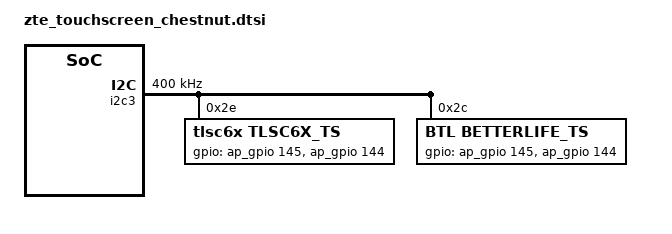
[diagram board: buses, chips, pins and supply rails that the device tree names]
/{
	zte_tp:zte_tp {
		compatible = "zte_tp";
		zte,tp_algo;
		zte,tp_long_press;
		zte,tp_long_press_timer = <800>;
		zte,tp_long_press_left_v = <12>;
		zte,tp_long_press_right_v = <12>;
		zte,tp_long_press_left_h = <16>; /*camera */
		zte,tp_long_press_right_h = <12>; /*charger */
		zte,tp_edge_click_suppression_pixel = <2>;
	};
};

&i2c3 {
	clock-frequency = <400000>;
	status = "okay";
	/delete-node/ touchscreen@38;
	tlsc6x_ts@2e {
		compatible = "tlsc6x,tlsc6x_ts";
		reg = <0x2e>;
		gpios = <&ap_gpio 145 0
			&ap_gpio 144 0>;
		vdd_name = "vdd28";
		TP_MAX_X = <480>;
		TP_MAX_Y = <960>;
	};
	betterlife_ts@2c{
		compatible = "BTL,betterlife_ts";
		reg = <0x2c>;
		gpios = <&ap_gpio 145 0
                 &ap_gpio 144 0>;
		vcc_name = "vdd28";
		TP_MAX_X = <480>;
		TP_MAX_Y = <960>;
	};
};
